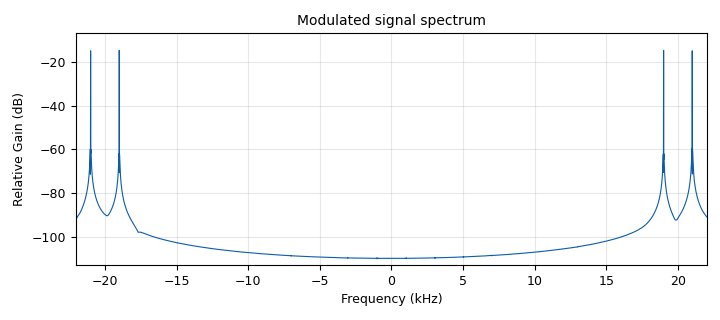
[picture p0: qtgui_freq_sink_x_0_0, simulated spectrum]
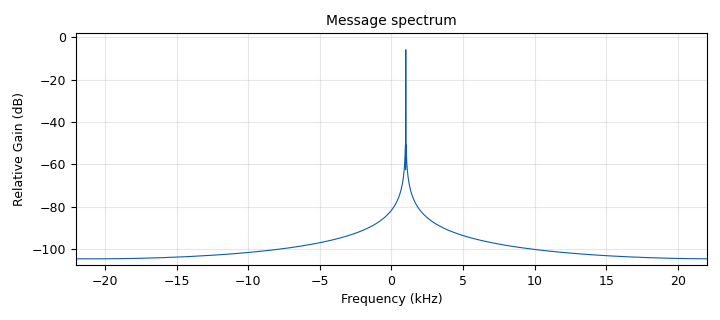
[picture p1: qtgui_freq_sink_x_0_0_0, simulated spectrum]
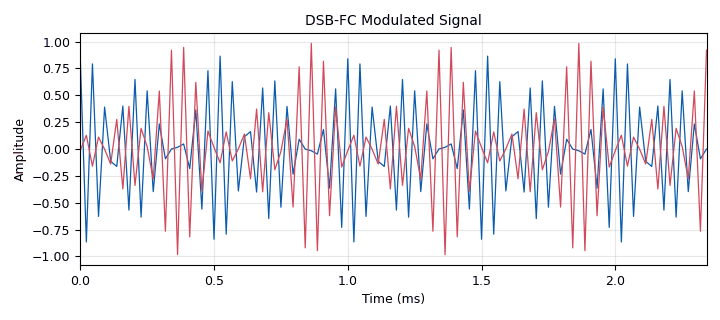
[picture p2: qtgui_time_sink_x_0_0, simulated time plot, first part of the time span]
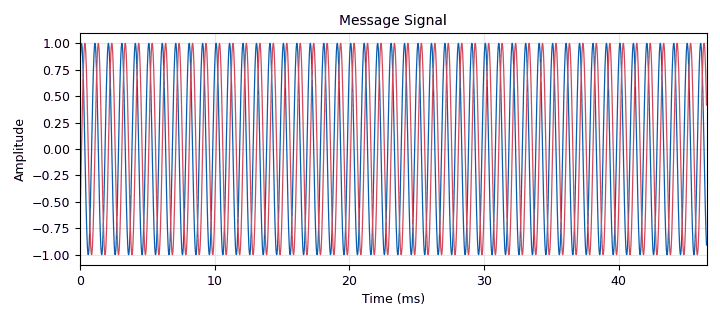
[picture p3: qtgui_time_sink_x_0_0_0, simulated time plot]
<?xml version='1.0' encoding='utf-8'?>
<?grc format='1' created='3.7.10'?>
<flow_graph>
<block>
<key>options</key>
<param><key>id</key><value>top_block</value></param>
<param><key>generate_options</key><value>qt_gui</value></param>
</block>
<block>
<key>variable</key>
<param><key>id</key><value>carrier_frequency</value></param>
<param><key>value</key><value>2e6</value></param>
</block>
<block>
<key>variable_qtgui_range</key>
<param><key>id</key><value>message_frequency</value></param>
<param><key>value</key><value>1e3</value></param>
<param><key>gui_hint</key><value>1,1,1,1</value></param>
<param><key>label</key><value>Adjust Frequency</value></param>
<param><key>orient</key><value>Qt.Horizontal</value></param>
<param><key>start</key><value>100</value></param>
<param><key>step</key><value>1000</value></param>
<param><key>stop</key><value>100e3</value></param>
</block>
<block>
<key>variable_qtgui_range</key>
<param><key>id</key><value>modulation_index</value></param>
<param><key>value</key><value>100</value></param>
<param><key>gui_hint</key><value>1,2,1,1</value></param>
<param><key>label</key><value>Adjust Amplitude</value></param>
<param><key>orient</key><value>Qt.Horizontal</value></param>
<param><key>start</key><value>25</value></param>
<param><key>step</key><value>1</value></param>
<param><key>stop</key><value>100</value></param>
<param><key>rangeType</key><value>int</value></param>
</block>
<block>
<key>variable</key>
<param><key>id</key><value>samp_rate</value></param>
<param><key>value</key><value>44000</value></param>
</block>
<block>
<key>analog_const_source_x</key>
<param><key>id</key><value>analog_const_source_x_0</value></param>
<param><key>const</key><value>-1</value></param>
<param><key>type</key><value>float</value></param>
</block>
<block>
<key>analog_sig_source_x</key>
<param><key>id</key><value>analog_sig_source_x_0_0</value></param>
<param><key>amp</key><value>modulation_index*0.01</value></param>
<param><key>freq</key><value>message_frequency</value></param>
<param><key>offset</key><value>0</value></param>
<param><key>type</key><value>complex</value></param>
<param><key>samp_rate</key><value>samp_rate</value></param>
<param><key>waveform</key><value>analog.GR_COS_WAVE</value></param>
</block>
<block>
<key>analog_sig_source_x</key>
<param><key>id</key><value>analog_sig_source_x_0_0_1</value></param>
<param><key>amp</key><value>1</value></param>
<param><key>freq</key><value>carrier_frequency</value></param>
<param><key>offset</key><value>0</value></param>
<param><key>type</key><value>complex</value></param>
<param><key>samp_rate</key><value>samp_rate</value></param>
<param><key>waveform</key><value>analog.GR_COS_WAVE</value></param>
</block>
<block>
<key>blocks_add_xx</key>
<param><key>id</key><value>blocks_add_xx_0</value></param>
<param><key>_enabled</key><value>0</value></param>
<param><key>type</key><value>float</value></param>
</block>
<block>
<key>blocks_complex_to_float</key>
<param><key>id</key><value>blocks_complex_to_float_0</value></param>
</block>
<block>
<key>blocks_complex_to_float</key>
<param><key>id</key><value>blocks_complex_to_float_0_0</value></param>
</block>
<block>
<key>blocks_file_sink</key>
<param><key>id</key><value>blocks_file_sink_0</value></param>
<param><key>_enabled</key><value>0</value></param>
<param><key>file</key><value>/Users/Tyson/Documents/Academic/ELEN3024/Labs/Lab3/audio/modulated_single_tone_signal.dat</value></param>
<param><key>type</key><value>complex</value></param>
</block>
<block>
<key>blocks_float_to_complex</key>
<param><key>id</key><value>blocks_float_to_complex_0_0</value></param>
</block>
<block>
<key>blocks_multiply_xx</key>
<param><key>id</key><value>blocks_multiply_xx_0</value></param>
<param><key>type</key><value>float</value></param>
</block>
<block>
<key>blocks_multiply_xx</key>
<param><key>id</key><value>blocks_multiply_xx_0_0</value></param>
<param><key>type</key><value>float</value></param>
</block>
<block>
<key>blocks_multiply_xx</key>
<param><key>id</key><value>blocks_multiply_xx_1</value></param>
<param><key>type</key><value>float</value></param>
</block>
<block>
<key>blocks_multiply_xx</key>
<param><key>id</key><value>blocks_multiply_xx_1_0</value></param>
<param><key>_enabled</key><value>0</value></param>
<param><key>type</key><value>float</value></param>
</block>
<block>
<key>blocks_throttle</key>
<param><key>id</key><value>blocks_throttle_0_0</value></param>
<param><key>samples_per_second</key><value>samp_rate</value></param>
<param><key>type</key><value>complex</value></param>
</block>
<block>
<key>qtgui_freq_sink_x</key>
<param><key>id</key><value>qtgui_freq_sink_x_0_0</value></param>
<param><key>autoscale</key><value>True</value></param>
<param><key>average</key><value>0.05</value></param>
<param><key>bw</key><value>samp_rate</value></param>
<param><key>fc</key><value>0</value></param>
<param><key>fftsize</key><value>1024*10</value></param>
<param><key>gui_hint</key><value>4,2,1,1</value></param>
<param><key>legend</key><value>False</value></param>
<param><key>name</key><value>"Modulated signal spectrum"</value></param>
<param><key>showports</key><value>True</value></param>
<param><key>tr_mode</key><value>qtgui.TRIG_MODE_AUTO</value></param>
<param><key>type</key><value>complex</value></param>
<param><key>update_time</key><value>1</value></param>
<param><key>wintype</key><value>firdes.WIN_HAMMING</value></param>
</block>
<block>
<key>qtgui_freq_sink_x</key>
<param><key>id</key><value>qtgui_freq_sink_x_0_0_0</value></param>
<param><key>autoscale</key><value>True</value></param>
<param><key>average</key><value>0.05</value></param>
<param><key>bw</key><value>samp_rate</value></param>
<param><key>fc</key><value>0</value></param>
<param><key>fftsize</key><value>1024*10</value></param>
<param><key>gui_hint</key><value>4,1,1,1</value></param>
<param><key>legend</key><value>False</value></param>
<param><key>name</key><value>"Message spectrum"</value></param>
<param><key>showports</key><value>True</value></param>
<param><key>tr_mode</key><value>qtgui.TRIG_MODE_AUTO</value></param>
<param><key>type</key><value>complex</value></param>
<param><key>update_time</key><value>1</value></param>
<param><key>wintype</key><value>firdes.WIN_HAMMING</value></param>
</block>
<block>
<key>qtgui_time_sink_x</key>
<param><key>id</key><value>qtgui_time_sink_x_0_0</value></param>
<param><key>autoscale</key><value>True</value></param>
<param><key>gui_hint</key><value>3,1,1,2</value></param>
<param><key>legend</key><value>False</value></param>
<param><key>color1</key><value>"blue"</value></param>
<param><key>label1</key><value></value></param>
<param><key>color2</key><value>"red"</value></param>
<param><key>label2</key><value></value></param>
<param><key>name</key><value>"DSB-FC Modulated Signal"</value></param>
<param><key>size</key><value>1024*2</value></param>
<param><key>srate</key><value>samp_rate</value></param>
<param><key>tr_level</key><value>100</value></param>
<param><key>type</key><value>complex</value></param>
<param><key>update_time</key><value>1</value></param>
</block>
<block>
<key>qtgui_time_sink_x</key>
<param><key>id</key><value>qtgui_time_sink_x_0_0_0</value></param>
<param><key>autoscale</key><value>True</value></param>
<param><key>gui_hint</key><value>2,1,1,2</value></param>
<param><key>legend</key><value>False</value></param>
<param><key>color1</key><value>"blue"</value></param>
<param><key>label1</key><value></value></param>
<param><key>color2</key><value>"red"</value></param>
<param><key>label2</key><value></value></param>
<param><key>name</key><value>"Message Signal"</value></param>
<param><key>size</key><value>1024*2</value></param>
<param><key>srate</key><value>samp_rate</value></param>
<param><key>tr_level</key><value>100</value></param>
<param><key>type</key><value>complex</value></param>
<param><key>update_time</key><value>1</value></param>
</block>
<block>
<key>uhd_usrp_sink</key>
<param><key>id</key><value>uhd_usrp_sink_0</value></param>
<param><key>ant0</key><value></value></param>
<param><key>center_freq0</key><value>carrier_frequency</value></param>
<param><key>norm_gain0</key><value>False</value></param>
<param><key>gain0</key><value>0</value></param>
<param><key>clock_rate</key><value>0.0</value></param>
<param><key>dev_args</key><value>""</value></param>
<param><key>_enabled</key><value>0</value></param>
<param><key>type</key><value>fc32</value></param>
<param><key>samp_rate</key><value>samp_rate</value></param>
<param><key>hide_cmd_port</key><value>False</value></param>
<param><key>hide_lo_controls</key><value>True</value></param>
<param><key>sync</key><value></value></param>
<param><key>len_tag_name</key><value></value></param>
</block>
<connection><source_block_id>analog_const_source_x_0</source_block_id><sink_block_id>blocks_multiply_xx_1</sink_block_id><source_key>0</source_key><sink_key>1</sink_key></connection>
<connection><source_block_id>analog_sig_source_x_0_0</source_block_id><sink_block_id>blocks_complex_to_float_0</sink_block_id><source_key>0</source_key><sink_key>0</sink_key></connection>
<connection><source_block_id>analog_sig_source_x_0_0</source_block_id><sink_block_id>qtgui_freq_sink_x_0_0_0</sink_block_id><source_key>0</source_key><sink_key>0</sink_key></connection>
<connection><source_block_id>analog_sig_source_x_0_0</source_block_id><sink_block_id>qtgui_time_sink_x_0_0_0</sink_block_id><source_key>0</source_key><sink_key>0</sink_key></connection>
<connection><source_block_id>analog_sig_source_x_0_0_1</source_block_id><sink_block_id>blocks_complex_to_float_0_0</sink_block_id><source_key>0</source_key><sink_key>0</sink_key></connection>
<connection><source_block_id>blocks_add_xx_0</source_block_id><sink_block_id>blocks_throttle_0_0</sink_block_id><source_key>0</source_key><sink_key>0</sink_key></connection>
<connection><source_block_id>blocks_complex_to_float_0</source_block_id><sink_block_id>blocks_multiply_xx_0_0</sink_block_id><source_key>1</source_key><sink_key>0</sink_key></connection>
<connection><source_block_id>blocks_complex_to_float_0</source_block_id><sink_block_id>blocks_multiply_xx_0</sink_block_id><source_key>0</source_key><sink_key>0</sink_key></connection>
<connection><source_block_id>blocks_complex_to_float_0_0</source_block_id><sink_block_id>blocks_multiply_xx_0_0</sink_block_id><source_key>1</source_key><sink_key>1</sink_key></connection>
<connection><source_block_id>blocks_complex_to_float_0_0</source_block_id><sink_block_id>blocks_multiply_xx_0</sink_block_id><source_key>0</source_key><sink_key>1</sink_key></connection>
<connection><source_block_id>blocks_float_to_complex_0_0</source_block_id><sink_block_id>blocks_throttle_0_0</sink_block_id><source_key>0</source_key><sink_key>0</sink_key></connection>
<connection><source_block_id>blocks_multiply_xx_0</source_block_id><sink_block_id>blocks_add_xx_0</sink_block_id><source_key>0</source_key><sink_key>0</sink_key></connection>
<connection><source_block_id>blocks_multiply_xx_0</source_block_id><sink_block_id>blocks_float_to_complex_0_0</sink_block_id><source_key>0</source_key><sink_key>0</sink_key></connection>
<connection><source_block_id>blocks_multiply_xx_0</source_block_id><sink_block_id>blocks_multiply_xx_1_0</sink_block_id><source_key>0</source_key><sink_key>0</sink_key></connection>
<connection><source_block_id>blocks_multiply_xx_0_0</source_block_id><sink_block_id>blocks_multiply_xx_1</sink_block_id><source_key>0</source_key><sink_key>0</sink_key></connection>
<connection><source_block_id>blocks_multiply_xx_1</source_block_id><sink_block_id>blocks_add_xx_0</sink_block_id><source_key>0</source_key><sink_key>1</sink_key></connection>
<connection><source_block_id>blocks_multiply_xx_1</source_block_id><sink_block_id>blocks_float_to_complex_0_0</sink_block_id><source_key>0</source_key><sink_key>1</sink_key></connection>
<connection><source_block_id>blocks_multiply_xx_1</source_block_id><sink_block_id>blocks_multiply_xx_1_0</sink_block_id><source_key>0</source_key><sink_key>1</sink_key></connection>
<connection><source_block_id>blocks_multiply_xx_1_0</source_block_id><sink_block_id>blocks_throttle_0_0</sink_block_id><source_key>0</source_key><sink_key>0</sink_key></connection>
<connection><source_block_id>blocks_throttle_0_0</source_block_id><sink_block_id>blocks_file_sink_0</sink_block_id><source_key>0</source_key><sink_key>0</sink_key></connection>
<connection><source_block_id>blocks_throttle_0_0</source_block_id><sink_block_id>qtgui_freq_sink_x_0_0</sink_block_id><source_key>0</source_key><sink_key>0</sink_key></connection>
<connection><source_block_id>blocks_throttle_0_0</source_block_id><sink_block_id>qtgui_time_sink_x_0_0</sink_block_id><source_key>0</source_key><sink_key>0</sink_key></connection>
<connection><source_block_id>blocks_throttle_0_0</source_block_id><sink_block_id>uhd_usrp_sink_0</sink_block_id><source_key>0</source_key><sink_key>0</sink_key></connection>
</flow_graph>
